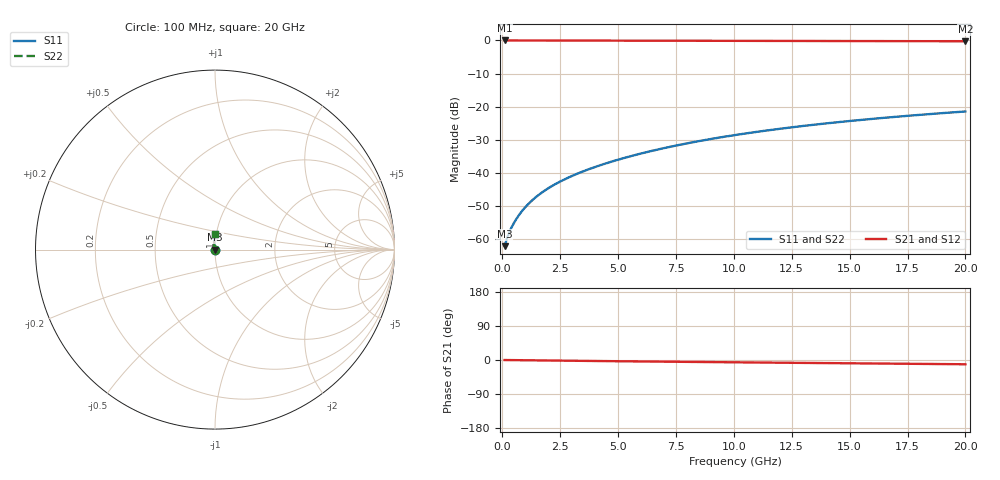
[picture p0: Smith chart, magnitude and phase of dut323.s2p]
! Touchstone file exported from HFSS 2024.1.0
!  File:  C:/UserFiles/LocalFiles/RDL_TSV_Batchsim/temp_RDL_bottom_323_1779611155.aedt
!  Generated:  04:28:08 PM May 24, 2026
!  Design:  RDL_bottom
!  Project:  temp_RDL_bottom_323_1779611155
!  Setup:  Setup1
!  Solution:  Sweep
! Variables:
!  dtsv = 10.80580581um
!  hbump = 3um
!  htsv = 77.82um
!  ldown = 176.55um
!  lrdl = 100um
!  p = 40
!  p1 = 40.04um
!  rhole = 1um
!  t = 450um
!  tdown = 4.74um
!  trdl = 3.915915916um
!  wdown = 27.03um
!  wrdl = 20um
# GHz S MA R 50.000000
! Terminal data exported
! Port[1] = RDL1_T1
! Port[2] = RDL1_T2
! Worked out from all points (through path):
!   200 points, 100 MHz to 20 GHz, reference 50 ohm
!   highest |S21| = -0.01 dB at 100 MHz (marker M1); lowest = -0.2 dB at 20 GHz (marker M2)
!   group delay of S21, straight-line fit = 1.53 ps
!   lowest |S11| = -62.1 dB at 100 MHz (marker M3), VSWR 1.00, Z = 50.1 + j0.0381 ohm
!   |S11| at or under -10 dB: start of sweep to end of sweep
!   |S22| runs from -62.1 to -21.5 dB; largest |S21 - S12| = 3.2e-15
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0.1  0.0007821 29.1  0.9993 -0.1  0.9993 -0.1  0.0007821 29.1
! Gamma 0 0 0 0
! Port Impedance 50 0 50 0
0.2  0.001025 43.1  0.9992 -0.1  0.9992 -0.1  0.001025 43.1
0.3  0.001264 51.2  0.9992 -0.2  0.9992 -0.2  0.001264 51.2
0.5  0.001744 61.9  0.9991 -0.3  0.9991 -0.3  0.001744 61.9
0.6  0.001994 65.7  0.999 -0.4  0.999 -0.4  0.001994 65.7
0.8  0.002513 71.4  0.9989 -0.5  0.9989 -0.5  0.002513 71.4
1  0.003051 75.4  0.9988 -0.7  0.9988 -0.7  0.003051 75.4
1.2  0.003603 78.4  0.9987 -0.8  0.9987 -0.8  0.003603 78.4
1.4  0.004165 80.8  0.9985 -1.0  0.9985 -1.0  0.004165 80.8
1.7  0.005025 83.5  0.9983 -1.2  0.9983 -1.2  0.005025 83.5
2.2  0.006497 86.8  0.9978 -1.5  0.9978 -1.5  0.006497 86.8
2.8  0.00833 89.7  0.9971 -1.9  0.9971 -1.9  0.00833 89.7
3.5  0.01057 92.2  0.9961 -2.3  0.9961 -2.3  0.01057 92.2
4.2  0.01294 94.1  0.995 -2.8  0.995 -2.8  0.01294 94.1
5  0.01582 95.7  0.9936 -3.3  0.9936 -3.3  0.01582 95.7
6.8  0.02289 97.5  0.9904 -4.3  0.9904 -4.3  0.02289 97.5
8.4  0.02977 97.8  0.9876 -5.2  0.9876 -5.2  0.02977 97.8
10.1  0.03749 97.2  0.9848 -6.1  0.9848 -6.1  0.03748 97.2
11.7  0.04498 96.3  0.9824 -7.0  0.9824 -7.0  0.04497 96.2
13.4  0.05308 95.0  0.98 -7.9  0.98 -7.9  0.05307 94.9
16.7  0.06889 92.2  0.976 -9.6  0.976 -9.6  0.06888 92.2
20  0.0846 89.4  0.9724 -11.2  0.9724 -11.2  0.08459 89.3
